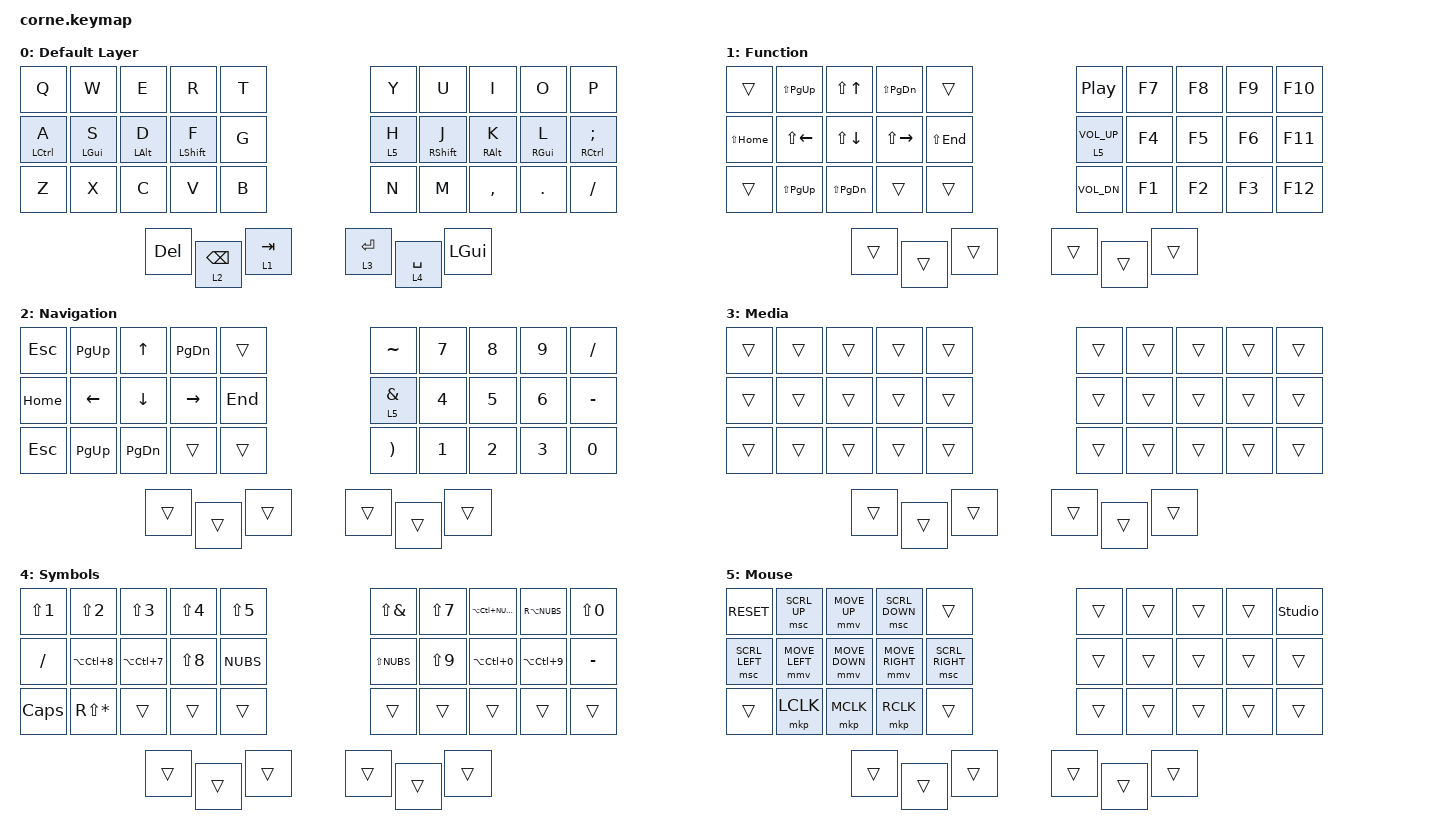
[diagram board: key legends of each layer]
#define ZMK_POINTING_DEFAULT_MOVE_VAL 1500

#include <behaviors.dtsi>
#include <dt-bindings/zmk/keys.h>
#include <dt-bindings/zmk/pointing.h>

#define DEFAULT 0

/ {
    behaviors {
        hml: home_row_mod_left {
            compatible = "zmk,behavior-hold-tap";
            #binding-cells = <2>;
            flavor = "balanced";
            require-prior-idle-ms = <150>;
            tapping-term-ms = <280>;
            quick-tap-ms = <175>;
            bindings = <&kp>, <&kp>;

            hold-trigger-key-positions = <5 6 7 8 9 15 16 17 18 19 25 26 27 28 29 33 34 35>;
            hold-trigger-on-release;
        };

        hmr: home_row_mod_right {
            compatible = "zmk,behavior-hold-tap";
            #binding-cells = <2>;
            flavor = "balanced";
            require-prior-idle-ms = <150>;
            tapping-term-ms = <280>;
            quick-tap-ms = <175>;
            bindings = <&kp>, <&kp>;

            hold-trigger-key-positions = <0 1 2 3 4 10 11 12 13 14 20 21 22 23 24 30 31 32>;
            hold-trigger-on-release;
        };

        mo_kp: Layer_keypress_hold_tap {
            compatible = "zmk,behavior-hold-tap";
            label = "LAYER_KEYPRESS_HOLD_TAP";
            bindings = <&mo>, <&kp>;

            #binding-cells = <2>;
            tapping-term-ms = <280>;
            quick-tap-ms = <175>;
            require-prior-idle-ms = <150>;
            flavor = "balanced";
            hold-trigger-on-release;
            hold-trigger-key-positions = <0 1 2 3 4 5 6 7 8 9 10 11 12 13 14 15 16 17 18 19 20 21 22 23 24 25 26 27 28 29>;
        };
    };

    keymap {
        compatible = "zmk,keymap";

        default_layer {
            display-name = "Default Layer";

            // -----------------------------------------------------------------------------------------
            // |  Q  |  W  |  E  |  R  |  T  |   |  Y  |  U   |  I  |  O  |  P  |
            // |  A  |  S  |  D  |  F  |  G  |   |  H  |  J   |  K  |  L  |  ;  |
            // |  Z  |  X  |  C  |  V  |  B  |   |  N  |  M   |  ,  |  .  |  /  |
            //                    | GUI | LWR | SPC |   | ENT | RSE  | ALT |

            bindings = <
&kp Q                &kp W            &kp E            &kp R               &kp T         &kp Y           &kp U           &kp I             &kp O             &kp P
&hml LEFT_CONTROL A  &hml LEFT_GUI S  &hml LEFT_ALT D  &hml LSHIFT F       &kp G         &mo_kp 5 H      &hmr RSHIFT J   &hmr RIGHT_ALT K  &hmr RIGHT_GUI L  &hmr RIGHT_CONTROL SEMICOLON
&kp Z                &kp X            &kp C            &kp V               &kp B         &kp N           &kp M           &kp COMMA         &kp DOT           &kp FSLH
                                      &kp DELETE       &mo_kp 2 BACKSPACE  &mo_kp 1 TAB  &mo_kp 3 ENTER  &mo_kp 4 SPACE  &kp LEFT_GUI
            >;
        };

        Function {
            display-name = "Function";

            // -----------------------------------------------------------------------------------------
            // |  !  |  @  |  #  |  $  |  %  |   |  ^  |  &  |  *  |  (  |  )  |
            // |     |     |     |     |     |   |  -  |  =  |  [  |  ]  |  \  |
            // |     |     |     |     |     |   |  _  |  +  |  {  |  }  | "|" |
            //                    | GUI |     | SPC |   | ENT |     | ALT |

            bindings = <
&trans        &kp LS(PG_UP)       &kp LS(UP_ARROW)  &kp LS(PG_DN)  &trans       &kp C_PLAY_PAUSE      &kp F7  &kp F8  &kp F9  &kp F10
&kp LS(HOME)  &kp LS(LEFT_ARROW)  &kp LS(DOWN)      &kp LS(RIGHT)  &kp LS(END)  &mo_kp 5 C_VOLUME_UP  &kp F4  &kp F5  &kp F6  &kp F11
&trans        &kp LS(PG_UP)       &kp LS(PG_DN)     &trans         &trans       &kp C_VOL_DN          &kp F1  &kp F2  &kp F3  &kp F12
                                  &trans            &trans         &trans       &trans                &trans  &trans
            >;
        };

        Navigation {
            display-name = "Navigation";

            // -----------------------------------------------------------------------------------------
            // |  1  |  2  |  3  |  4  |  5  |   |  6  |  7  |  8  |  9  |  0  |
            // | BT1 | BT2 | BT3 | BT4 | BT5 |   | LFT | DWN |  UP | RGT |     |
            // |     |     |     |     |     |   |     |     |     |     |     |
            //                    | GUI |     | SPC |   | ENT |     | ALT |

            bindings = <
&kp ESCAPE  &kp PAGE_UP     &kp UP_ARROW    &kp PAGE_DOWN  &trans   &kp TILDE              &kp N7        &kp N8        &kp N9        &kp SLASH
&kp HOME    &kp LEFT_ARROW  &kp DOWN_ARROW  &kp RIGHT      &kp END  &mo_kp 5 AMPERSAND     &kp NUMBER_4  &kp NUMBER_5  &kp NUMBER_6  &kp MINUS
&kp ESCAPE  &kp PAGE_UP     &kp PAGE_DOWN   &trans         &trans   &kp RIGHT_PARENTHESIS  &kp NUMBER_1  &kp NUMBER_2  &kp NUMBER_3  &kp N0
                            &trans          &trans         &trans   &trans                 &trans        &trans
            >;
        };

        Media {
            bindings = <
&trans  &trans  &trans  &trans  &trans  &trans  &trans  &trans  &trans  &trans
&trans  &trans  &trans  &trans  &trans  &trans  &trans  &trans  &trans  &trans
&trans  &trans  &trans  &trans  &trans  &trans  &trans  &trans  &trans  &trans
                &trans  &trans  &trans  &trans  &trans  &trans
            >;
        };

        Symbols {
            bindings = <
&kp LS(NUMBER_1)  &kp LS(NUMBER_2)  &kp LS(NUMBER_3)  &kp LS(NUMBER_4)  &kp LS(N5)  &kp LS(AMPERSAND)  &kp LS(N7)  &kp LA(LC(NUBS))  &kp RA(NUBS)    &kp LS(N0)
&kp SLASH         &kp LA(LC(N8))    &kp LA(LC(N7))    &kp LS(N8)        &kp NUBS    &kp LS(NUBS)       &kp LS(N9)  &kp LA(LC(N0))    &kp LA(LC(N9))  &kp MINUS
&kp CLCK          &kp RS(STAR)      &trans            &trans            &trans      &trans             &trans      &trans            &trans          &trans
                                    &trans            &trans            &trans      &trans             &trans      &trans
            >;
        };

        Mouse {
            bindings = <
&kp C_RESET     &msc SCRL_UP    &mmv MOVE_UP    &msc SCRL_DOWN   &trans           &trans  &trans  &trans  &trans  &studio_unlock
&msc SCRL_LEFT  &mmv MOVE_LEFT  &mmv MOVE_DOWN  &mmv MOVE_RIGHT  &msc SCRL_RIGHT  &trans  &trans  &trans  &trans  &trans
&trans          &mkp LCLK       &mkp MCLK       &mkp RCLK        &trans           &trans  &trans  &trans  &trans  &trans
                                &trans          &trans           &trans           &trans  &trans  &trans
            >;
        };
    };
};
